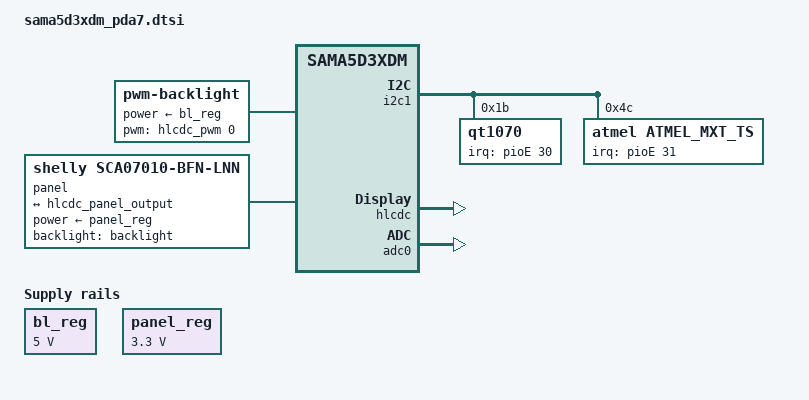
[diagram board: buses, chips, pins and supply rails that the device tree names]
/*
 * sama5d3xdm_pda7.dtsi - Device Tree file for SAMA5 display module
 *
 *  Copyright (C) 2014 Atmel,
 *                2014 Ludovic Desroches <ludovic.desroches@atmel.com>
 *
 * Licensed under GPLv2 or later.
 */

/ {
	ahb {
		apb {
			i2c1: i2c@f0018000 {
				qt1070: keyboard@1b {
					compatible = "qt1070";
					reg = <0x1b>;
					interrupt-parent = <&pioE>;
					interrupts = <30 0x0>;
					pinctrl-names = "default";
					pinctrl-0 = <&pinctrl_qt1070_irq>;
					wakeup-source;
				};

				atmel_mxt_ts@4c {
					compatible = "atmel,atmel_mxt_ts";
					reg = <0x4c>;
					interrupt-parent = <&pioE>;
					interrupts = <31 0x0>;
					pinctrl-names = "default";
					pinctrl-0 = <&pinctrl_mxt_ts>;
				};
			};

			hlcdc: hlcdc@f0030000 {
				status = "okay";

				hlcdc-display-controller {
					pinctrl-names = "default";
					pinctrl-0 = <&pinctrl_lcd_base &pinctrl_lcd_rgb666_alt>;

					port@0 {
						hlcdc_panel_output: endpoint@0 {
							reg = <0>;
							remote-endpoint = <&panel_input>;
						};
					};
				};
			};

			adc0: adc@f8018000 {
				atmel,adc-clock-rate = <1000000>;
				atmel,adc-ts-wires = <4>;
				atmel,adc-ts-pressure-threshold = <10000>;
				status = "okay";
			};

			pinctrl@fffff200 {
				board {
					pinctrl_qt1070_irq: qt1070_irq {
						atmel,pins =
							<AT91_PIOE 30 AT91_PERIPH_GPIO AT91_PINCTRL_PULL_UP_DEGLITCH>; /* PE30 GPIO with pull up deglith */
					};

					pinctrl_mxt_ts: mxt_irq {
						atmel,pins =
							<AT91_PIOE 31 AT91_PERIPH_GPIO AT91_PINCTRL_PULL_UP_DEGLITCH>; /* PE31 GPIO with pull up deglith */
					};
				};
			};
		};
	};

	backlight: backlight {
		compatible = "pwm-backlight";
		pwms = <&hlcdc_pwm 0 50000 0>;
		brightness-levels = <0 4 8 16 32 64 128 255>;
		default-brightness-level = <6>;
		power-supply = <&bl_reg>;
		status = "okay";
	};

	bl_reg: backlight_regulator {
		compatible = "regulator-fixed";
		regulator-name = "backlight-power-supply";
		regulator-min-microvolt = <5000000>;
		regulator-max-microvolt = <5000000>;
		status = "okay";
	};

	panel: panel {
		compatible = "shelly,sca07010-bfn-lnn", "simple-panel";
		backlight = <&backlight>;
		power-supply = <&panel_reg>;
		#address-cells = <1>;
		#size-cells = <0>;
		status = "okay";

		port@0 {
			reg = <0>;
			#address-cells = <1>;
			#size-cells = <0>;

			panel_input: endpoint@0 {
				reg = <0>;
				remote-endpoint = <&hlcdc_panel_output>;
			};
		};
	};

	panel_reg: panel_regulator {
		compatible = "regulator-fixed";
		regulator-name = "panel-power-supply";
		regulator-min-microvolt = <3300000>;
		regulator-max-microvolt = <3300000>;
		status = "okay";
	};
};
